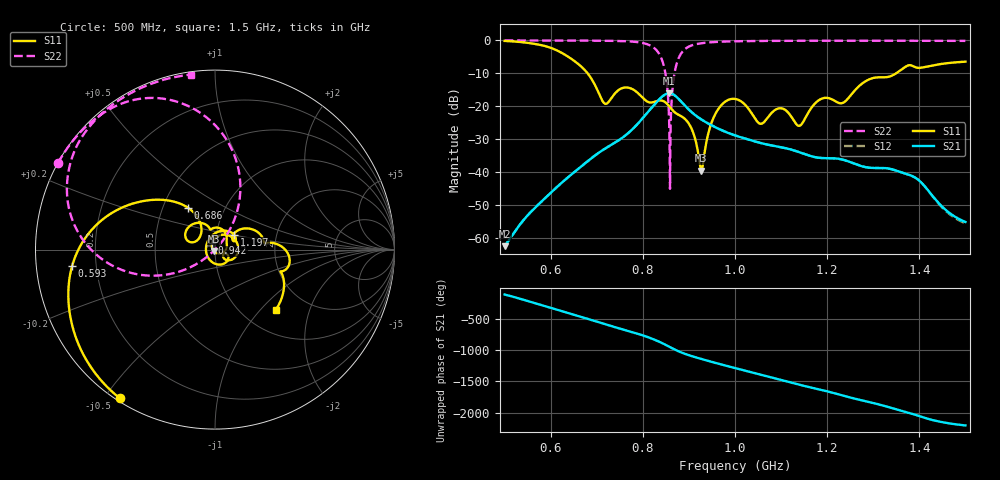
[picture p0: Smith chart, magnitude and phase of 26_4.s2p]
! TOUCHSTONE file generated by CST MICROWAVE STUDIO
! Date and time: Fri Oct  2 16:58:14 2020
! Project name: Scenario_1_Free_Space_out_of_line.cst
! Parameters = {Lambda=346.42; Step_1=17.321; dy1=-85.885; dx1=693; L_HA=400; MT=2.54; Rad_Dielectric=30; Rad_Lower=7.3; Rad_Upper=30; a_HA=580; a_WG=246; b_HA=500; b_WG=121; c_HA=0; c_WG=187; d_feed=85; h_feed=15; h_lower=18; h_upper=40}
! Header version: 2018
! Port assignment regex: !\s*Touchstone port\s*([0-9]+)\s*=\s*(CST MWS port|CST DS port)\s*([0-9]+|Zmin|Zmax)\s*\(\"(.*)\"\)(\s*mode\s*([0-9]+))?.*
! Touchstone port assignment:
! Touchstone port 1 = CST MWS port 1 ("")
! Touchstone port 2 = CST MWS port 2 ("")
# GHz S DB R 50
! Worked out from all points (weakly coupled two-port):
!   1003 points, 500 MHz to 1.5 GHz, reference 50 ohm
!   highest |S21| = -16.01 dB at 857 MHz (marker M1); lowest = -62.4 dB at 500 MHz (marker M2)
!   lowest |S11| = -39.5 dB at 927 MHz (marker M3), VSWR 1.02, Z = 49.2 - j0.679 ohm
!   |S11| at or under -10 dB: 680.2 MHz to 1.349 GHz (669.1 MHz wide, 65.9 % of centre)
!   |S22| runs from -45.0 to 0.0 dB; largest |S21 - S12| = 9.4e-05
!   S11 on the Smith chart (normalised r, x): 500 MHz: 0.01, -0.55; 593 MHz: 0.11, -0.06; 686 MHz: 0.67, +0.34; 942 MHz: 0.97, +0.07; 1.197 GHz: 1.22, +0.20; 1.5 GHz: 1.41, -1.22
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0.5  -0.15 -122.6  -62.41 -116.8  -62.41 -116.8  -0.01 151.1
0.593  -1.92 -173.4  -47.16 46.5  -47.16 46.5  -0.02 144.6
0.667  -8.02 135.8  -38.14 -113.8  -38.14 -113.8  -0.04 138.3
0.686  -11.10 122.9  -36.00 -155.8  -36.00 -155.8  -0.06 136.3
0.718  -19.21 141.5  -32.82 131.6  -32.82 131.6  -0.10 132.4
0.762  -14.27 143.6  -28.84 37.5  -28.84 37.5  -0.24 124.8
0.834  -18.25 89.3  -18.10 -142.3  -18.10 -142.3  -3.76 86.5
0.848  -18.69 65.9  -16.43 168.9  -16.43 168.9  -9.25 66.0
0.857  -19.93 50.9  -16.01 134.5  -16.01 134.5  -24.15 48.9
0.879  -22.67 26.6  -17.94 55.4  -17.94 55.4  -4.97 -170.1
0.906  -26.86 -24.2  -21.77 -15.8  -21.77 -15.8  -1.50 164.8
0.927  -39.53 -139.2  -23.97 -61.6  -23.97 -61.6  -0.85 155.3
0.942  -28.23 114.7  -25.22 -92.8  -25.22 -92.8  -0.63 150.8
0.967  -20.18 58.0  -26.98 -142.8  -26.98 -142.9  -0.40 145.4
1  -17.74 -1.7  -28.80 153.7  -28.80 153.7  -0.26 140.2
1.055  -25.29 -32.4  -31.10 49.7  -31.10 49.7  -0.16 133.8
1.099  -20.57 -51.1  -32.36 -32.8  -32.36 -32.8  -0.12 129.7
1.14  -25.90 177.0  -33.92 -111.7  -33.92 -111.7  -0.10 126.3
1.167  -20.22 83.4  -35.18 -159.8  -35.18 -159.8  -0.09 124.1
1.197  -17.40 37.1  -35.71 149.0  -35.71 149.0  -0.09 121.8
1.334  -11.01 7.0  -38.88 -108.9  -38.88 -108.9  -0.09 111.4
1.5  -6.44 -44.6  -55.07 -39.3  -55.50 -39.4  -0.14 97.8
